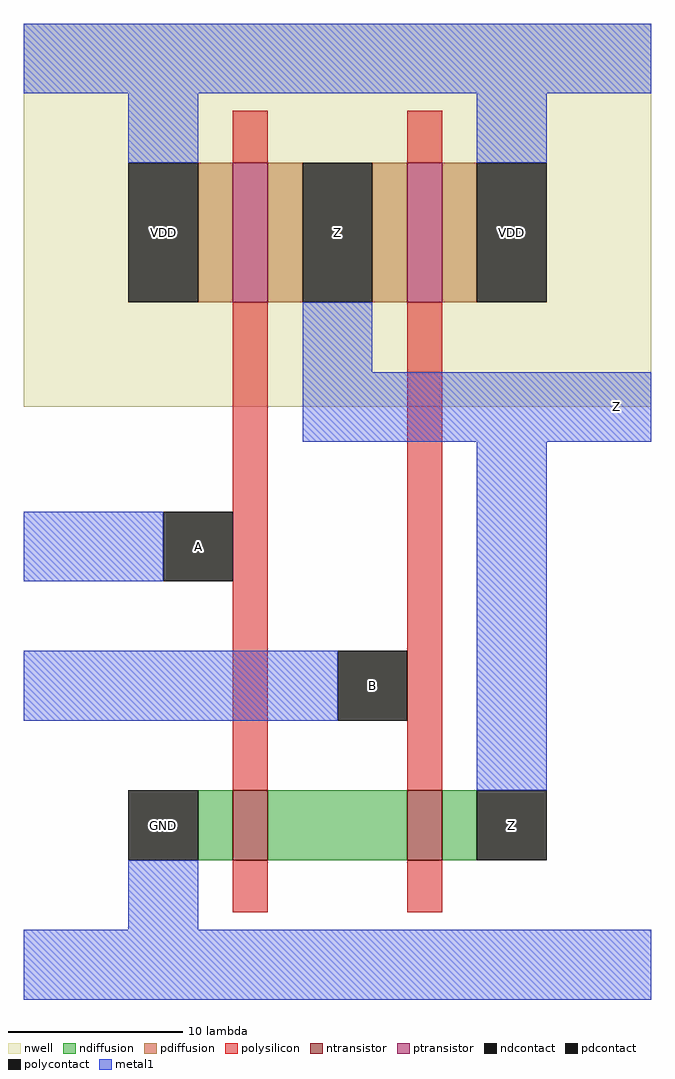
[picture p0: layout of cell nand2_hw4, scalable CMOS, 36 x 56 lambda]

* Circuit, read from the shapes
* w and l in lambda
.subckt nand2_hw4 A B GND VDD Z
M1 n1 A GND VSUBS nfet w=4 l=2
M2 Z B n1 VSUBS nfet w=4 l=2
M3 Z A VDD n2 pfet w=8 l=2
M4 VDD B Z n2 pfet w=8 l=2
.ends

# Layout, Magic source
magic
tech scmos
<< nwell >>
rect 0 34 36 56
<< ntransistor >>
rect 12 8 14 12
rect 22 8 24 12
<< ptransistor >>
rect 12 40 14 48
rect 22 40 24 48
<< ndiffusion >>
rect 10 8 12 12
rect 14 8 22 12
rect 24 8 26 12
<< pdiffusion >>
rect 10 40 12 48
rect 14 40 16 48
rect 20 40 22 48
rect 24 40 26 48
<< ndcontact >>
rect 6 8 10 12
rect 26 8 30 12
<< pdcontact >>
rect 6 40 10 48
rect 16 40 20 48
rect 26 40 30 48
<< polysilicon >>
rect 12 48 14 51
rect 22 48 24 51
rect 12 12 14 40
rect 22 12 24 40
rect 12 5 14 8
rect 22 5 24 8
<< polycontact >>
rect 8 24 12 28
rect 18 16 22 20
<< metal1 >>
rect 0 52 36 56
rect 6 48 10 52
rect 26 48 30 52
rect 16 36 20 40
rect 16 32 36 36
rect 0 24 8 28
rect 0 16 18 20
rect 26 12 30 32
rect 6 4 10 8
rect 0 0 36 4
<< labels >>
rlabel ndcontact 28 10 28 10 1 Z
rlabel ndcontact 8 10 8 10 1 GND
rlabel pdcontact 18 44 18 44 1 Z
rlabel metal1 34 34 34 34 1 Z
rlabel pdcontact 8 44 8 44 1 VDD
rlabel pdcontact 28 44 28 44 1 VDD
rlabel polycontact 20 18 20 18 1 B
rlabel polycontact 10 26 10 26 1 A
<< end >>
